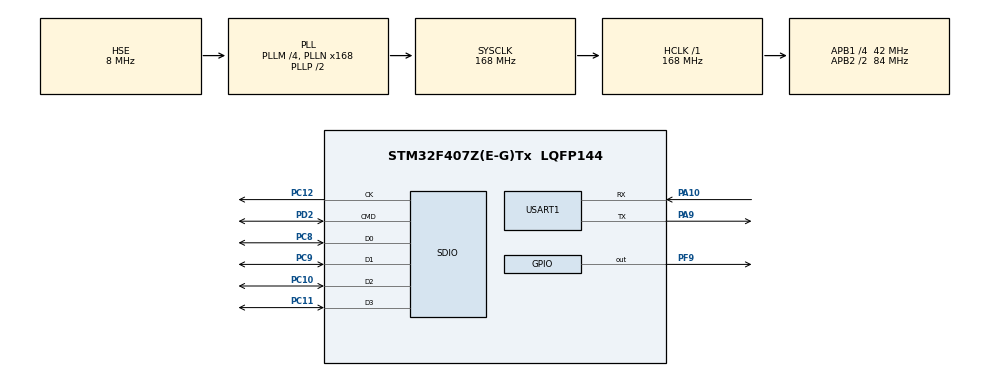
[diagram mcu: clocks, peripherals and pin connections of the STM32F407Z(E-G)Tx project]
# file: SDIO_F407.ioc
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FATFS._MAX_SS=512
Mcu.Family=STM32F4
Mcu.Name=STM32F407Z(E-G)Tx
Mcu.Package=LQFP144
NVIC.PriorityGroup=NVIC_PRIORITYGROUP_4
NVIC.USART1_IRQn=true\:0\:0\:false\:false\:true\:true\:true
PA10.Mode=Asynchronous
PA10.Signal=USART1_RX
PA9.Mode=Asynchronous
PA9.Signal=USART1_TX
PC10.Mode=SD_4_bits_Wide_bus
PC10.Signal=SDIO_D2
PC11.Mode=SD_4_bits_Wide_bus
PC11.Signal=SDIO_D3
PC12.Mode=SD_4_bits_Wide_bus
PC12.Signal=SDIO_CK
PC8.Mode=SD_4_bits_Wide_bus
PC8.Signal=SDIO_D0
PC9.Mode=SD_4_bits_Wide_bus
PC9.Signal=SDIO_D1
PD2.Mode=SD_4_bits_Wide_bus
PD2.Signal=SDIO_CMD
PF9.Signal=GPIO_Output
PH0-OSC_IN.Mode=HSE-External-Oscillator
PH0-OSC_IN.Signal=RCC_OSC_IN
PH1-OSC_OUT.Mode=HSE-External-Oscillator
PH1-OSC_OUT.Signal=RCC_OSC_OUT
ProjectManager.HeapSize=0x200
ProjectManager.StackSize=0x400
ProjectManager.TargetToolchain=STM32CubeIDE
RCC.48MHZClocksFreq_Value=48000000
RCC.AHBFreq_Value=168000000
RCC.APB1CLKDivider=RCC_HCLK_DIV4
RCC.APB1Freq_Value=42000000
RCC.APB1TimFreq_Value=84000000
RCC.APB2CLKDivider=RCC_HCLK_DIV2
RCC.APB2Freq_Value=84000000
RCC.APB2TimFreq_Value=168000000
RCC.CortexFreq_Value=168000000
RCC.HCLKFreq_Value=168000000
RCC.HSE_VALUE=8000000
RCC.HSI_VALUE=16000000
RCC.LSE_VALUE=32768
RCC.PLLM=4
RCC.PLLN=168
RCC.PLLQ=7
RCC.PLLSourceVirtual=RCC_PLLSOURCE_HSE
RCC.SYSCLKFreq_VALUE=168000000
RCC.SYSCLKSource=RCC_SYSCLKSOURCE_PLLCLK
RCC.VCOOutputFreq_Value=336000000
SDIO.ClockDiv=6
USART1.VirtualMode=VM_ASYNC
VP_FATFS_VS_SDIO.Mode=SDIO
board=custom

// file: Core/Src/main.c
/* USER CODE BEGIN Header */
/**
  ******************************************************************************
  * @file           : main.c
  * @brief          : Main program body
  ******************************************************************************
  * @attention
  *
  * <h2><center>&copy; Copyright (c) 2020 STMicroelectronics.
  * All rights reserved.</center></h2>
  *
  * This software component is licensed by ST under Ultimate Liberty license
  * SLA0044, the "License"; You may not use this file except in compliance with
  * the License. You may obtain a copy of the License at:
  *                             www.st.com/SLA0044
  *
  ******************************************************************************
  */
/* USER CODE END Header */

#include "main.h"
#include "fatfs.h"

/* USER CODE BEGIN Includes */

#include "UartRingbuffer.h"
#include "file_handling.h"

/* USER CODE END Includes */

SD_HandleTypeDef hsd;

UART_HandleTypeDef huart1;

void SystemClock_Config(void);
static void MX_GPIO_Init(void);
static void MX_SDIO_SD_Init(void);
static void MX_USART1_UART_Init(void);

/* USER CODE BEGIN 0 */
char cmd = 0;
/* USER CODE END 0 */

int main(void)
{

  /* MCU Configuration--------------------------------------------------------*/

  /* Reset of all peripherals, Initializes the Flash interface and the Systick. */
  HAL_Init();

  /* Configure the system clock */
  SystemClock_Config();

  /* Initialize all configured peripherals */
  MX_GPIO_Init();
  MX_SDIO_SD_Init();
  MX_USART1_UART_Init();
  MX_FATFS_Init();
  /* USER CODE BEGIN 2 */

  Ringbuf_init();  // init the ring buffer

  mount_sd();

  /* USER CODE END 2 */

  /* Infinite loop */
    while (1)
    {

    /* USER CODE BEGIN 3 */
    	HAL_GPIO_TogglePin(GPIOA, GPIO_PIN_7);
    	HAL_GPIO_TogglePin(GPIOA, GPIO_PIN_6);
  	  while (IsDataAvailable())
  	  {
  		  HAL_GPIO_WritePin(GPIOA, GPIO_PIN_6, GPIO_PIN_SET);
  		  Get_string(buffer);
  		  int len = cmdlength(buffer);
  		  get_path();

  		  if (!(strncmp ("ls", buffer,len))) cmd = 'l';
  		  if (!(strncmp ("mkdir", buffer,len))) cmd = 'm';
  		  if (!(strncmp ("mkfil", buffer, len))) cmd = 'c';
  		  if (!(strncmp ("read", buffer, len))) cmd = 'r';
  		  if (!(strncmp ("write", buffer, len))) cmd = 'w';
  		  if (!(strncmp ("rm", buffer, len))) cmd = 'd';
  		  if (!(strncmp ("update", buffer, len))) cmd = 'u';
  		  if (!(strncmp ("checkfile", buffer, len))) cmd = 'f';
  		  if (!(strncmp ("checksd", buffer, len))) cmd = 's';

  		  switch (cmd)
  		  {
  		  	  case ('l'):
  		  			  scan_files(path);
  		  	  	  	  cmd =0;
  		  	  	  	  clear_buffer();
  		  	  	  	  clear_path();
  		  	  	  	  break;

  			  case ('m'):
  					  create_dir (path);
  			  	  	  cmd=0;
  			  	  	  clear_path();
  			  	  	  break;

  			  case ('c'):
  					  create_file(path);
  			  	  	  cmd = 0;
  			  	  	  clear_path();
  			  	  	  break;

  			  case ('r'):
  					  read_file (path);
  			  	  	  cmd = 0;
  			  	  	  clear_path();
  			  	  	  break;

  			  case ('d'):
  					  remove_file(path);
  			  	  	  cmd = 0;
  			  	  	  clear_path();
  			  	  	  break;

  			  case ('w'):
  					  write_file (path);
  			  	  	  cmd = 0;
  			  	  	  clear_path();
  			  	  	  break;

  			  case ('u'):
  					  update_file (path);
  			  	  	  cmd = 0;
  			  	  	  clear_path();
  			  	  	  break;

  			  case ('f'):
  					  check_file(path);
  			  	  	  cmd = 0;
  			  	  	  clear_path();
  			  	  	  break;

  			  case ('s'):
  					  check_sd();
  			  	  	  cmd = 0;
  			  	  	  clear_path();
  			  	  	  break;

  			  default :
  				  clear_buffer();
  				  clear_path();
  				  break;
  		  }
  	  }
    }
  /* USER CODE END 3 */
}

void SystemClock_Config(void)
{
  RCC_OscInitTypeDef RCC_OscInitStruct = {0};
  RCC_ClkInitTypeDef RCC_ClkInitStruct = {0};

  /** Configure the main internal regulator output voltage
  */
  __HAL_RCC_PWR_CLK_ENABLE();
  __HAL_PWR_VOLTAGESCALING_CONFIG(PWR_REGULATOR_VOLTAGE_SCALE1);
  /** Initializes the CPU, AHB and APB busses clocks
  */
  RCC_OscInitStruct.OscillatorType = RCC_OSCILLATORTYPE_HSE;
  RCC_OscInitStruct.HSEState = RCC_HSE_ON;
  RCC_OscInitStruct.PLL.PLLState = RCC_PLL_ON;
  RCC_OscInitStruct.PLL.PLLSource = RCC_PLLSOURCE_HSE;
  RCC_OscInitStruct.PLL.PLLM = 4;
  RCC_OscInitStruct.PLL.PLLN = 168;
  RCC_OscInitStruct.PLL.PLLP = RCC_PLLP_DIV2;
  RCC_OscInitStruct.PLL.PLLQ = 7;
  if (HAL_RCC_OscConfig(&RCC_OscInitStruct) != HAL_OK)
  {
    Error_Handler();
  }
  /** Initializes the CPU, AHB and APB busses clocks
  */
  RCC_ClkInitStruct.ClockType = RCC_CLOCKTYPE_HCLK|RCC_CLOCKTYPE_SYSCLK
                              |RCC_CLOCKTYPE_PCLK1|RCC_CLOCKTYPE_PCLK2;
  RCC_ClkInitStruct.SYSCLKSource = RCC_SYSCLKSOURCE_PLLCLK;
  RCC_ClkInitStruct.AHBCLKDivider = RCC_SYSCLK_DIV1;
  RCC_ClkInitStruct.APB1CLKDivider = RCC_HCLK_DIV4;
  RCC_ClkInitStruct.APB2CLKDivider = RCC_HCLK_DIV2;

  if (HAL_RCC_ClockConfig(&RCC_ClkInitStruct, FLASH_LATENCY_5) != HAL_OK)
  {
    Error_Handler();
  }
}

static void MX_SDIO_SD_Init(void)
{

  hsd.Instance = SDIO;
  hsd.Init.ClockEdge = SDIO_CLOCK_EDGE_RISING;
  hsd.Init.ClockBypass = SDIO_CLOCK_BYPASS_DISABLE;
  hsd.Init.ClockPowerSave = SDIO_CLOCK_POWER_SAVE_DISABLE;
  hsd.Init.BusWide = SDIO_BUS_WIDE_1B;
  hsd.Init.HardwareFlowControl = SDIO_HARDWARE_FLOW_CONTROL_DISABLE;
  hsd.Init.ClockDiv = 6;

}

static void MX_USART1_UART_Init(void)
{

  huart1.Instance = USART1;
  huart1.Init.BaudRate = 115200;
  huart1.Init.WordLength = UART_WORDLENGTH_8B;
  huart1.Init.StopBits = UART_STOPBITS_1;
  huart1.Init.Parity = UART_PARITY_NONE;
  huart1.Init.Mode = UART_MODE_TX_RX;
  huart1.Init.HwFlowCtl = UART_HWCONTROL_NONE;
  huart1.Init.OverSampling = UART_OVERSAMPLING_16;
  if (HAL_UART_Init(&huart1) != HAL_OK)
  {
    Error_Handler();
  }

}

static void MX_GPIO_Init(void)
{
  GPIO_InitTypeDef GPIO_InitStruct = {0};

  /* GPIO Ports Clock Enable */
  __HAL_RCC_GPIOF_CLK_ENABLE();
  __HAL_RCC_GPIOH_CLK_ENABLE();
  __HAL_RCC_GPIOC_CLK_ENABLE();
  __HAL_RCC_GPIOA_CLK_ENABLE();
  __HAL_RCC_GPIOD_CLK_ENABLE();

  /*Configure GPIO pin Output Level */
  HAL_GPIO_WritePin(GPIOF, GPIO_PIN_9, GPIO_PIN_RESET);

  /*Configure GPIO pin : PF9 */
  GPIO_InitStruct.Pin = GPIO_PIN_9;
  GPIO_InitStruct.Mode = GPIO_MODE_OUTPUT_PP;
  GPIO_InitStruct.Pull = GPIO_NOPULL;
  GPIO_InitStruct.Speed = GPIO_SPEED_FREQ_LOW;
  HAL_GPIO_Init(GPIOF, &GPIO_InitStruct);

}

void Error_Handler(void)
{
}

/************************ (C) COPYRIGHT STMicroelectronics *****END OF FILE****/
